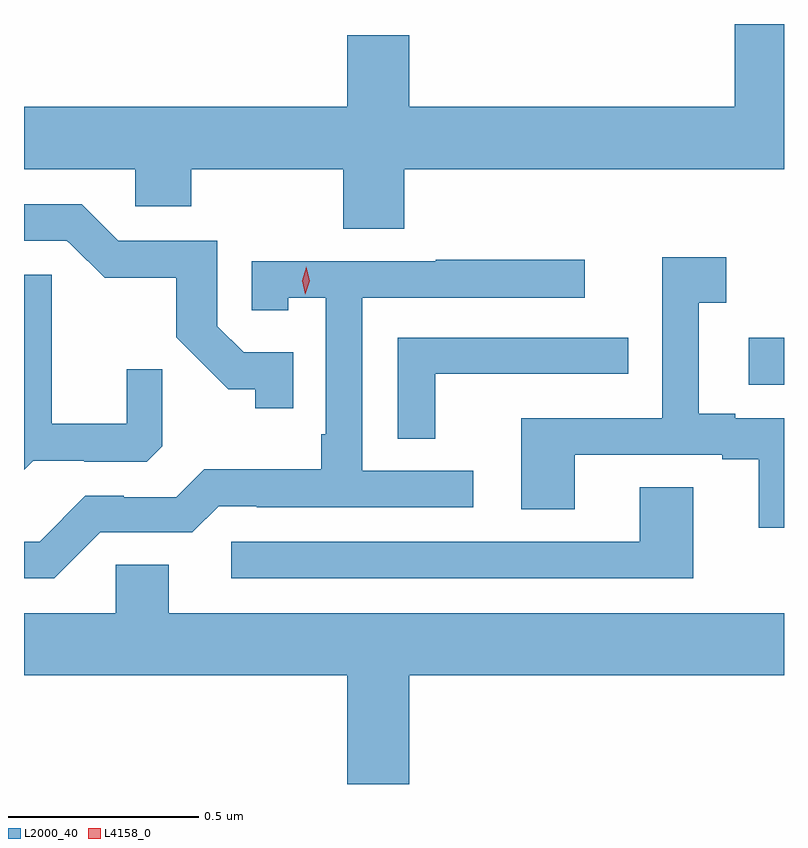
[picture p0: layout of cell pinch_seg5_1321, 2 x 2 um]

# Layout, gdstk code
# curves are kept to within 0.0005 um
import gdstk
lib = gdstk.Library(unit=1e-6, precision=1e-09)
def R(c, l, rs):  # rectangles x0, y0, x1, y1
    for r in rs: c.add(gdstk.rectangle(r[:2], r[2:], *l))
def P(c, l, *ps):  # polygons
    for p in ps: c.add(gdstk.Polygon(p, *l))
L2000_40 = (2000, 40)
L4158_0 = (4158, 0)

pinch_seg5_1321 = lib.new_cell('pinch_seg5_1321')
R(pinch_seg5_1321, L2000_40, [(441.789,861.521,441.882,861.645)])
P(pinch_seg5_1321, L2000_40, [(440.882,862.088),(441.882,862.088),(441.882,862.47),(441.752,862.47),(441.752,862.252),(440.896,862.252),(440.896,862.441),(440.732,862.441),(440.732,862.252),(439.882,862.252),(439.882,862.088),(440.175,862.088),(440.175,861.99),(440.322,861.99),(440.322,862.088),(440.722,862.088),(440.722,861.931),(440.882,861.931)],
  [(440.591,861.606),(440.46,861.606),(440.391,861.675),(440.391,861.9),(440.13,861.9),(440.034,861.996),(439.882,861.996),(439.882,861.9),(439.995,861.9),(440.094,861.802),(440.283,861.802),(440.283,861.646),(440.42,861.509),(440.49,861.509),(440.49,861.459),(440.591,861.459)],
  [(441.882,861.432),(441.754,861.432),(441.754,861.445),(441.658,861.445),(441.658,861.736),(441.73,861.736),(441.73,861.856),(441.561,861.856),(441.561,861.432),(441.191,861.432),(441.191,861.193),(441.331,861.193),(441.331,861.336),(441.719,861.336),(441.719,861.324),(441.815,861.324),(441.815,861.144),(441.882,861.144)],
  [(440.082,861.132),(440.325,861.132),(440.394,861.201),(440.494,861.201),(440.494,861.198),(441.064,861.198),(441.064,861.294),(440.772,861.294),(440.772,861.75),(441.358,861.75),(441.358,861.849),(440.965,861.849),(440.965,861.846),(440.481,861.846),(440.481,861.717),(440.577,861.717),(440.577,861.749),(440.676,861.749),(440.676,861.391),(440.664,861.391),(440.664,861.298),(440.356,861.298),(440.283,861.225),(440.144,861.225),(440.144,861.228),(440.043,861.228),(439.923,861.108),(439.882,861.108),(439.882,861.012),(439.962,861.012)],
  [(439.906,861.321),(440.04,861.321),(440.04,861.318),(440.205,861.318),(440.246,861.359),(440.246,861.561),(440.152,861.561),(440.152,861.418),(439.955,861.418),(439.955,861.81),(439.882,861.81),(439.882,861.297)],
  [(440.964,861.549),(441.359,861.549),(441.359,861.55),(441.472,861.55),(441.472,861.645),(440.865,861.645),(440.865,861.379),(440.964,861.379)],
  [(441.643,861.251),(441.503,861.251),(441.503,861.108),(440.427,861.108),(440.427,861.012),(441.643,861.012)],
  [(440.896,860.756),(441.882,860.756),(441.882,860.92),(440.263,860.92),(440.263,861.047),(440.124,861.047),(440.124,860.92),(439.882,860.92),(439.882,860.756),(440.732,860.756),(440.732,860.47),(440.896,860.47)])
P(pinch_seg5_1321, L4158_0, [(440.622,861.759),(440.622,861.759),(440.614,861.795),(440.625,861.83),(440.625,861.831),(440.625,861.83),(440.634,861.794),(440.622,861.759)])

lib.write_gds('pinch_seg5_1321.gds')
